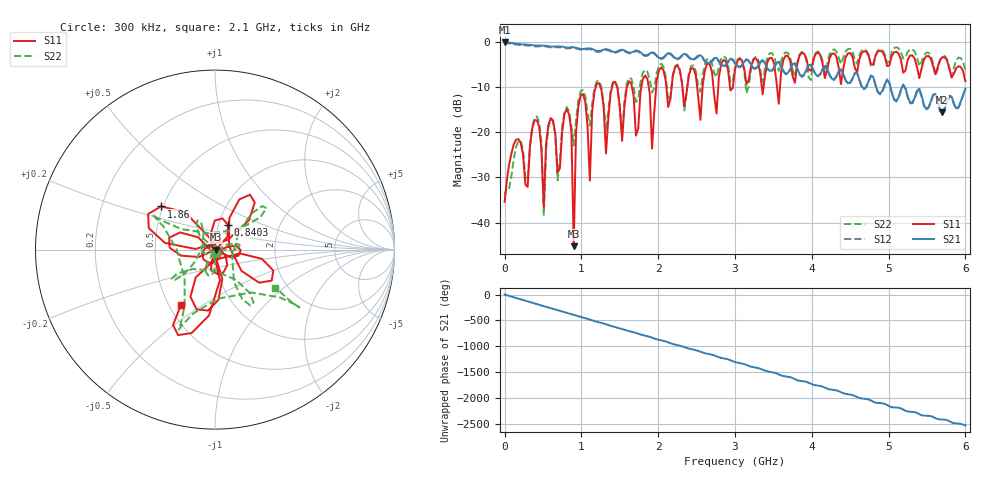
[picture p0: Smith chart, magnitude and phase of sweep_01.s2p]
! 2-port S-parameters written by miniscope-char acquisition
! instrument: Pico Technology Ltd,PicoVNA-106,10080,5.3.4
! transport: scpi
! endpoint: 127.0.0.1:5025
! demo: false
! calibration: software
# HZ S RI R 50
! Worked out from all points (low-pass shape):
!   201 points, 300 kHz to 6 GHz, reference 50 ohm
!   highest |S21| = -0.14 dB at 300 kHz (marker M1); lowest = -15.6 dB at 5.7 GHz (marker M2)
!   |S21| within 3 dB of the highest: start of sweep to 1.985 GHz; 2.09 GHz to 2.191 GHz (100.8 MHz wide, 4.71 % of centre)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
!   lowest |S11| = -45.2 dB at 900.3 MHz (marker M3), VSWR 1.01, Z = 50.6 + j0.0563 ohm
!   |S11| at or under -10 dB: start of sweep to 1.188 GHz; 1.248 GHz to 1.4 GHz (151.8 MHz wide, 11.5 % of centre); 1.465 GHz to 1.594 GHz (128.8 MHz wide, 8.42 % of centre)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
!   |S22| runs from -38.2 to -1.2 dB; largest |S21 - S12| = 0.058
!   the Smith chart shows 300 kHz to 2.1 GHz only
!   S11 on the Smith chart (normalised r, x): 300 kHz: 1.02, -0.03; 840.3 MHz: 1.11, +0.32; 1.86 GHz: 0.49, +0.27; 2.1 GHz: 0.58, -0.41
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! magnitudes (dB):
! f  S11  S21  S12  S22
! 300 kHz  -35.4  -0.1  0.3  -34.0
! 420.3 MHz  -17.4  -0.9  -1.1  -16.5
! 510.3 MHz  -36.5  -0.9  -1.1  -38.2
! 570.3 MHz  -18.5  -1.0  -1.2  -18.9
! 690.3 MHz  -28.9  -1.1  -1.2  -30.6
! 840.3 MHz  -16.1  -1.3  -1.5  -15.4
! 900.3 MHz  -45.2  -1.2  -1.4  -23.0
! 930.3 MHz  -20.1  -1.3  -1.5  -17.2
! 1.02 GHz  -11.6  -1.6  -1.8  -10.7
! 1.11 GHz  -30.7  -1.5  -1.7  -18.5
! 1.2 GHz  -9.3  -2.1  -2.2  -8.8
! 1.32 GHz  -24.7  -1.6  -1.8  -19.8
! 1.41 GHz  -9.2  -2.3  -2.4  -8.9
! 1.86 GHz  -8.3  -3.0  -3.1  -6.7
! 1.92 GHz  -23.6  -2.4  -2.5  -11.2
! 2.01 GHz  -6.3  -3.5  -3.7  -5.3
! 2.1 GHz  -8.9  -3.0  -3.1  -8.0
! 3 GHz  -6.3  -4.7  -4.8  -5.7
! 4.02 GHz  -3.9  -6.2  -6.3  -4.3
! 5.01 GHz  -5.3  -9.1  -9.2  -4.3
! 5.7 GHz  -3.4  -15.6  -15.8  -3.2
! 6 GHz  -8.8  -10.4  -10.6  -6.3
